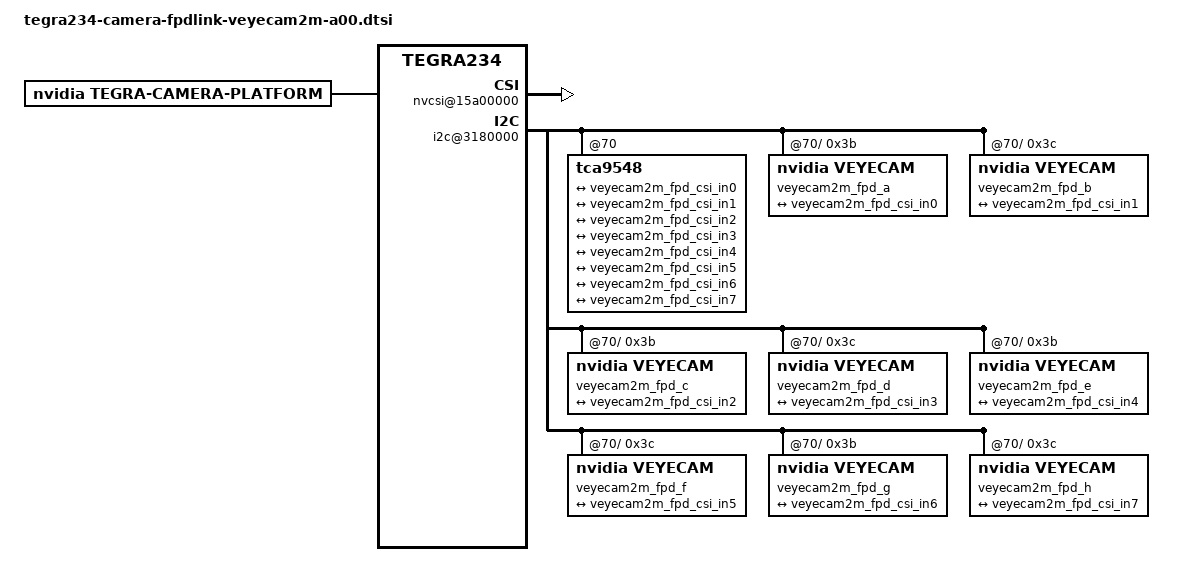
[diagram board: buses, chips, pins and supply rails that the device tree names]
/*
 * Copyright (c) 2015-2024, www.veye.cc.  All rights reserved.
 *
 * This program is free software; you can redistribute it and/or modify it
 * under the terms and conditions of the GNU General Public License,
 * version 2, as published by the Free Software Foundation.
 *
 * This program is distributed in the hope it will be useful, but WITHOUT
 * ANY WARRANTY; without even the implied warranty of MERCHANTABILITY or
 * FITNESS FOR A PARTICULAR PURPOSE.  See the GNU General Public License for
 * more details.
 *
 * You should have received a copy of the GNU General Public License
 * along with this program.  If not, see <http://www.gnu.org/licenses/>.
 */

/ {
    fragment-fpdcamera@0 {
        target-path = "/";
        __overlay__ {
            tegra-capture-vi {
                num-channels = <8>;
                ports {
                    #address-cells = <1>;
                    #size-cells = <0>;
                    port@0 {
                        reg = <0>;
                        veyecam2m_fpd_vi_in0: endpoint {
                            vc-id = <0>;
                            port-index = <0>;
                            bus-width = <4>;
                            remote-endpoint = <&veyecam2m_fpd_csi_out0>;
                        };
                    };
                    port@1 {
                        reg = <1>;
                        veyecam2m_fpd_vi_in1: endpoint {
                            vc-id = <1>;
                            port-index = <0>;
                            bus-width = <4>;
                            remote-endpoint = <&veyecam2m_fpd_csi_out1>;
                        };
                    };
                    port@2 {
                        reg = <2>;
                        veyecam2m_fpd_vi_in2: endpoint {
                            vc-id = <0>;
                            port-index = <2>;
                            bus-width = <4>;
                            remote-endpoint = <&veyecam2m_fpd_csi_out2>;
                        };
                    };
                    port@3 {
                        reg = <3>;
                        veyecam2m_fpd_vi_in3: endpoint {
                            vc-id = <1>;
                            port-index = <2>;
                            bus-width = <4>;
                            remote-endpoint = <&veyecam2m_fpd_csi_out3>;
                        };
                    };
                    port@4 {
                        reg = <4>;
                        veyecam2m_fpd_vi_in4: endpoint {
                            vc-id = <0>;
                            port-index = <4>;
                            bus-width = <4>;
                            remote-endpoint = <&veyecam2m_fpd_csi_out4>;
                        };
                    };
                    port@5 {
                        reg = <5>;
                        veyecam2m_fpd_vi_in5: endpoint {
                            vc-id = <1>;
                            port-index = <4>;
                            bus-width = <4>;
                            
                            remote-endpoint = <&veyecam2m_fpd_csi_out5>;
                            };
                        };
                        port@6 {
                            reg = <6>;
                            veyecam2m_fpd_vi_in6: endpoint {
                                vc-id = <0>;
                                port-index = <5>;
                                bus-width = <4>;
                                remote-endpoint = <&veyecam2m_fpd_csi_out6>;
                                
                            };
                        };
                        port@7 {
                            reg = <7>;
                            veyecam2m_fpd_vi_in7: endpoint {
                                vc-id = <1>;
                                port-index = <5>;
                                bus-width = <4>;
                                remote-endpoint = <&veyecam2m_fpd_csi_out7>;
                                
                            };
                        };
                    };
                };
            
        bus@0 {
            host1x@13e00000 {
                nvcsi@15a00000 {
                    num-channels = <8>;
                    #address-cells = <1>;
                    #size-cells = <0>;
                    status = "okay";
                    channel@0 {
                        reg = <0>;
                        ports {
                            #address-cells = <1>;
                            #size-cells = <0>;
                            port@0 {
                                reg = <0>;
                                veyecam2m_fpd_csi_in0: endpoint@0 {
                                    port-index = <0>;
                                    bus-width = <4>;
                                    remote-endpoint = <&veyecam2m_fpd_out0>;
                                };
                            };
                            port@1 {
                                reg = <1>;
                                veyecam2m_fpd_csi_out0: endpoint@1 {
                                    remote-endpoint = <&veyecam2m_fpd_vi_in0>;
                                };
                            };
                        };
                    };
                    channel@1 {
                        reg = <1>;
                        ports {
                            #address-cells = <1>;
                            #size-cells = <0>;
                            port@0 {
                                reg = <0>;
                                veyecam2m_fpd_csi_in1: endpoint@2 {
                                    port-index = <0>;
                                    bus-width = <4>;
                                    remote-endpoint = <&veyecam2m_fpd_out1>;
                                };
                            };
                            port@1 {
                                reg = <1>;
                                veyecam2m_fpd_csi_out1: endpoint@3 {
                                    remote-endpoint = <&veyecam2m_fpd_vi_in1>;
                                };
                            };
                        };
                    };
                    channel@2 {
                        reg = <2>;
                        ports {
                            #address-cells = <1>;
                            #size-cells = <0>;
                            port@0 {
                                reg = <0>;
                                veyecam2m_fpd_csi_in2: endpoint@4 {
                                    port-index = <2>;
                                    bus-width = <4>;
                                    remote-endpoint = <&veyecam2m_fpd_out2>;
                                };
                            };
                            port@1 {
                                reg = <1>;
                                veyecam2m_fpd_csi_out2: endpoint@5 {
                                    remote-endpoint = <&veyecam2m_fpd_vi_in2>;
                                };
                            };
                        };
                    };
                    channel@3 {
                        reg = <3>;
                        ports {
                            #address-cells = <1>;
                            #size-cells = <0>;
                            port@0 {
                                reg = <0>;
                                veyecam2m_fpd_csi_in3: endpoint@6 {
                                    port-index = <2>;
                                    bus-width = <4>;
                                    remote-endpoint = <&veyecam2m_fpd_out3>;
                                };
                            };
                            port@1 {
                                reg = <1>;
                                veyecam2m_fpd_csi_out3: endpoint@7 {
                                    remote-endpoint = <&veyecam2m_fpd_vi_in3>;
                                };
                            };
                        };
                    };
                    channel@4 {
                        reg = <4>;
                        ports {
                            #address-cells = <1>;
                            #size-cells = <0>;
                            port@0 {
                                reg = <0>;
                                veyecam2m_fpd_csi_in4: endpoint@8 {
                                    port-index = <4>;
                                    bus-width = <4>;
                                    remote-endpoint = <&veyecam2m_fpd_out4>;
                                };
                            };
                            port@1 {
                                reg = <1>;
                                veyecam2m_fpd_csi_out4: endpoint@9 {
                                    remote-endpoint = <&veyecam2m_fpd_vi_in4>;
                                };
                            };
                        };
                    };
                    channel@5 {
                        reg = <5>;
                        ports {
                            #address-cells = <1>;
                            #size-cells = <0>;
                            port@0 {
                                reg = <0>;
                                veyecam2m_fpd_csi_in5: endpoint@10 {
                                    port-index = <4>;
                                    bus-width = <4>;
                                    remote-endpoint = <&veyecam2m_fpd_out5>;
                                };
                            };
                            port@1 {
                                reg = <1>;
                                veyecam2m_fpd_csi_out5: endpoint@11 {
                                    remote-endpoint = <&veyecam2m_fpd_vi_in5>;
                                };
                            };
                        };
                    };
                    channel@6 {
                        reg = <6>;
                        ports {
                            #address-cells = <1>;
                            #size-cells = <0>;
                            port@0 {
                                reg = <0>;
                                veyecam2m_fpd_csi_in6: endpoint@12 {
                                    port-index = <6>;
                                    bus-width = <4>;
                                    remote-endpoint = <&veyecam2m_fpd_out6>;
                                };
                            };
                            port@1 {
                                reg = <1>;
                                veyecam2m_fpd_csi_out6: endpoint@13 {
                                    remote-endpoint = <&veyecam2m_fpd_vi_in6>;
                                };
                            };
                        };
                    };
                    channel@7 {
                        reg = <7>;
                        ports {
                            #address-cells = <1>;
                            #size-cells = <0>;
                            port@0 {
                                reg = <0>;
                                veyecam2m_fpd_csi_in7: endpoint@14 {
                                    port-index = <6>;
                                    bus-width = <4>;
                                    remote-endpoint = <&veyecam2m_fpd_out7>;
                                };
                            };
                            port@1 {
                                reg = <1>;
                                veyecam2m_fpd_csi_out7: endpoint@15 {
                                    remote-endpoint = <&veyecam2m_fpd_vi_in7>;
                                };
                            };
                        };
                    };
                };
            };

            i2c@3180000 {
                tca9548@70 {
                    i2c@0 {
                        veyecam2m_fpd_a@3b {
                            compatible = "nvidia,veyecam";
                            reg = <0x3b>;
                            devnode = "video0";

                            /* Physical dimensions of sensor */
                            physical_w = "5.6";
                            physical_h = "3.1";

                            /* Define any required hw resources needed by driver */
                            /* ie. clocks, io pins, power sources */
                            avdd-reg = "vana";
                            iovdd-reg = "vif";

                            /* Enable EEPROM support */
                            has-eeprom = "0";

                            mode0 {
                            mclk_khz = "24000";
                            num_lanes = "4";
                            tegra_sinterface = "serial_a";
                            vc_id = "0";
                            phy_mode = "DPHY";
                            discontinuous_clk = "yes";
                            dpcm_enable = "false";
                            cil_settletime = "0";

                            active_w = "1920";
                            active_h = "1080";
                            mode_type = "yuv";
                            pixel_phase = "uyvy";
                            csi_pixel_bit_depth = "16";
                            readout_orientation = "0";
                            line_length = "2200";
                            inherent_gain = "1";
                            mclk_multiplier = "2";
                            pix_clk_hz = "74250000";
                                        serdes_pix_clk_hz = "187499999";
                                gain_factor = "10";
                                min_gain_val = "10";/* 1DB*/
                                max_gain_val = "160";/* 16DB*/
                                step_gain_val = "1";
                                default_gain = "10";
                                min_hdr_ratio = "1";
                                max_hdr_ratio = "1";
                                framerate_factor = "1000000";
                                min_framerate = "1816577";/*1.816577 */
                                max_framerate = "30000000";/*30*/
                                step_framerate = "1";
                                default_framerate = "30000000";
                                exposure_factor = "1000000";
                                min_exp_time = "34";/* us */
                                max_exp_time = "550385";/* us */
                                step_exp_time = "1";
                                default_exp_time = "33334";/* us */
                                embedded_metadata_height = "0";
                        };
                        ports {
                                #address-cells = <1>;
                                #size-cells = <0>;

                                port@0 {
                                    reg = <0>;
                                    veyecam2m_fpd_out0: endpoint {
                                        vc-id = <0>;
                                        port-index = <0>;
                                        bus-width = <4>;
                                        remote-endpoint = <&veyecam2m_fpd_csi_in0>;
                                    };
                                };
                            };
                        };
                    

                    
                        veyecam2m_fpd_b@3c {
                            compatible = "nvidia,veyecam";
                            reg = <0x3c>;
                            devnode = "video1";

                            /* Physical dimensions of sensor */
                            physical_w = "5.6";
                            physical_h = "3.1";

                            /* Define any required hw resources needed by driver */
                            /* ie. clocks, io pins, power sources */
                            avdd-reg = "vana";
                            iovdd-reg = "vif";

                            /* Enable EEPROM support */
                            has-eeprom = "0";

                            mode0 { 
                            mclk_khz = "24000";
                            num_lanes = "4";
                            tegra_sinterface = "serial_a";
                                        vc_id = "1";
                            phy_mode = "DPHY";
                            discontinuous_clk = "yes";
                            dpcm_enable = "false";
                            cil_settletime = "0";

                            active_w = "1920";
                            active_h = "1080";
                            mode_type = "yuv";
                                        pixel_phase = "uyvy";
                                        csi_pixel_bit_depth = "16";
                            readout_orientation = "0";
                            line_length = "2200";
                            inherent_gain = "1";
                            mclk_multiplier = "2";
                            pix_clk_hz = "74250000";
                                        serdes_pix_clk_hz = "187499999";
                                gain_factor = "10";
                                min_gain_val = "10";/* 1DB*/
                                max_gain_val = "160";/* 16DB*/
                                step_gain_val = "1";
                                default_gain = "10";
                                min_hdr_ratio = "1";
                                max_hdr_ratio = "1";
                                framerate_factor = "1000000";
                                min_framerate = "1816577";/*1.816577 */
                                max_framerate = "30000000";/*30*/
                                step_framerate = "1";
                                default_framerate = "30000000";
                                exposure_factor = "1000000";
                                min_exp_time = "34";/* us */
                                max_exp_time = "550385";/* us */
                                step_exp_time = "1";
                                default_exp_time = "33334";/* us */
                                embedded_metadata_height = "0";
                        };

                            ports {
                                #address-cells = <1>;
                                #size-cells = <0>;

                                port@0 {
                                    reg = <0>;
                                    veyecam2m_fpd_out1: endpoint {
                                        vc-id = <1>;
                                        port-index = <0>;
                                        bus-width = <4>;
                                        remote-endpoint = <&veyecam2m_fpd_csi_in1>;
                                    };
                                };
                            };
                        };
                    };

                    i2c@1 {
                        veyecam2m_fpd_c@3b {
                            compatible = "nvidia,veyecam";
                            reg = <0x3b>;
                            devnode = "video2";

                            /* Physical dimensions of sensor */
                            physical_w = "5.6";
                            physical_h = "3.1";

                            /* Define any required hw resources needed by driver */
                            /* ie. clocks, io pins, power sources */
                            avdd-reg = "vana";
                            iovdd-reg = "vif";

                            /* Enable EEPROM support */
                            has-eeprom = "0";

                            mode0 { 
                            mclk_khz = "24000";
                            num_lanes = "4";
                            tegra_sinterface = "serial_c";
                                        vc_id = "0";
                            phy_mode = "DPHY";
                            discontinuous_clk = "yes";
                            dpcm_enable = "false";
                            cil_settletime = "0";

                            active_w = "1920";
                            active_h = "1080";
                            mode_type = "yuv";
                                        pixel_phase = "uyvy";
                                        csi_pixel_bit_depth = "16";
                            readout_orientation = "0";
                            line_length = "2200";
                            inherent_gain = "1";
                            mclk_multiplier = "2";
                            pix_clk_hz = "74250000";
                                        serdes_pix_clk_hz = "187499999";
                                gain_factor = "10";
                                min_gain_val = "10";/* 1DB*/
                                max_gain_val = "160";/* 16DB*/
                                step_gain_val = "1";
                                default_gain = "10";
                                min_hdr_ratio = "1";
                                max_hdr_ratio = "1";
                                framerate_factor = "1000000";
                                min_framerate = "1816577";/*1.816577 */
                                max_framerate = "30000000";/*30*/
                                step_framerate = "1";
                                default_framerate = "30000000";
                                exposure_factor = "1000000";
                                min_exp_time = "34";/* us */
                                max_exp_time = "550385";/* us */
                                step_exp_time = "1";
                                default_exp_time = "33334";/* us */
                                embedded_metadata_height = "0";
                        };


                            ports {
                                #address-cells = <1>;
                                #size-cells = <0>;

                                port@0 {
                                    reg = <0>;
                                    veyecam2m_fpd_out2: endpoint {
                                        vc-id = <0>;
                                        port-index = <2>;
                                        bus-width = <4>;
                                        remote-endpoint = <&veyecam2m_fpd_csi_in2>;
                                    };
                                };
                            };
                        };
                    
                        veyecam2m_fpd_d@3c {
                            compatible = "nvidia,veyecam";
                            reg = <0x3c>;
                            devnode = "video3";

                            /* Physical dimensions of sensor */
                            physical_w = "5.6";
                            physical_h = "3.1";

                            /* Define any required hw resources needed by driver */
                            /* ie. clocks, io pins, power sources */
                            avdd-reg = "vana";
                            iovdd-reg = "vif";

                            /* Enable EEPROM support */
                            has-eeprom = "0";

                            mode0 { 
                            mclk_khz = "24000";
                            num_lanes = "4";
                            tegra_sinterface = "serial_c";
                                        vc_id = "1";
                            phy_mode = "DPHY";
                            discontinuous_clk = "yes";
                            dpcm_enable = "false";
                            cil_settletime = "0";

                            active_w = "1920";
                            active_h = "1080";
                            mode_type = "yuv";
                                        pixel_phase = "uyvy";
                                        csi_pixel_bit_depth = "16";
                            readout_orientation = "0";
                            line_length = "2200";
                            inherent_gain = "1";
                            mclk_multiplier = "2";
                            pix_clk_hz = "74250000";
                                serdes_pix_clk_hz = "187499999";
                                gain_factor = "10";
                                min_gain_val = "10";/* 1DB*/
                                max_gain_val = "160";/* 16DB*/
                                step_gain_val = "1";
                                default_gain = "10";
                                min_hdr_ratio = "1";
                                max_hdr_ratio = "1";
                                framerate_factor = "1000000";
                                min_framerate = "1816577";/*1.816577 */
                                max_framerate = "30000000";/*30*/
                                step_framerate = "1";
                                default_framerate = "30000000";
                                exposure_factor = "1000000";
                                min_exp_time = "34";/* us */
                                max_exp_time = "550385";/* us */
                                step_exp_time = "1";
                                default_exp_time = "33334";/* us */
                                embedded_metadata_height = "0";
                        };

                            ports {
                                #address-cells = <1>;
                                #size-cells = <0>;

                                port@0 {
                                    reg = <0>;
                                    veyecam2m_fpd_out3: endpoint {
                                        vc-id = <1>;
                                        port-index = <2>;
                                        bus-width = <4>;
                                        remote-endpoint = <&veyecam2m_fpd_csi_in3>;
                                    };
                                };
                            };
                        };
                    };

                    i2c@2 {
                        veyecam2m_fpd_e@3b {
                            compatible = "nvidia,veyecam";
                            reg = <0x3b>;
                            devnode = "video4";

                            /* Physical dimensions of sensor */
                            physical_w = "5.6";
                            physical_h = "3.1";

                            /* Define any required hw resources needed by driver */
                            /* ie. clocks, io pins, power sources */
                            avdd-reg = "vana";
                            iovdd-reg = "vif";

                            /* Enable EEPROM support */
                            has-eeprom = "0";

                            mode0 { 
                            mclk_khz = "24000";
                            num_lanes = "4";
                            tegra_sinterface = "serial_e";
                                        vc_id = "0";
                            phy_mode = "DPHY";
                            discontinuous_clk = "yes";
                            dpcm_enable = "false";
                            cil_settletime = "0";

                            active_w = "1920";
                            active_h = "1080";
                            mode_type = "yuv";
                                        pixel_phase = "uyvy";
                                        csi_pixel_bit_depth = "16";
                            readout_orientation = "0";
                            line_length = "2200";
                            inherent_gain = "1";
                            mclk_multiplier = "2";
                            pix_clk_hz = "74250000";
                                        serdes_pix_clk_hz = "187499999";
                                gain_factor = "10";
                                min_gain_val = "10";/* 1DB*/
                                max_gain_val = "160";/* 16DB*/
                                step_gain_val = "1";
                                default_gain = "10";
                                min_hdr_ratio = "1";
                                max_hdr_ratio = "1";
                                framerate_factor = "1000000";
                                min_framerate = "1816577";/*1.816577 */
                                max_framerate = "30000000";/*30*/
                                step_framerate = "1";
                                default_framerate = "30000000";
                                exposure_factor = "1000000";
                                min_exp_time = "34";/* us */
                                max_exp_time = "550385";/* us */
                                step_exp_time = "1";
                                default_exp_time = "33334";/* us */
                                embedded_metadata_height = "0";
                        };


                            ports {
                                #address-cells = <1>;
                                #size-cells = <0>;

                                port@0 {
                                    reg = <0>;
                                    veyecam2m_fpd_out4: endpoint {
                                        vc-id = <0>;
                                        port-index = <4>;
                                        bus-width = <4>;
                                        remote-endpoint = <&veyecam2m_fpd_csi_in4>;
                                    };
                                };
                            };
                        };
                    
                        veyecam2m_fpd_f@3c  {
                            compatible = "nvidia,veyecam";
                            reg = <0x3c>;
                            devnode = "video5";

                            /* Physical dimensions of sensor */
                            physical_w = "5.6";
                            physical_h = "3.1";

                            /* Define any required hw resources needed by driver */
                            /* ie. clocks, io pins, power sources */
                            avdd-reg = "vana";
                            iovdd-reg = "vif";

                            /* Enable EEPROM support */
                            has-eeprom = "0";

                            mode0 { 
                            mclk_khz = "24000";
                            num_lanes = "4";
                            vc_id = "1";
                            tegra_sinterface = "serial_e";
                                        
                            phy_mode = "DPHY";
                            discontinuous_clk = "yes";
                            dpcm_enable = "false";
                            cil_settletime = "0";

                            active_w = "1920";
                            active_h = "1080";
                            mode_type = "yuv";
                                        pixel_phase = "uyvy";
                                        csi_pixel_bit_depth = "16";
                            readout_orientation = "0";
                            line_length = "2200";
                            inherent_gain = "1";
                            mclk_multiplier = "2";
                            pix_clk_hz = "74250000";
                                        serdes_pix_clk_hz = "187499999";
                                gain_factor = "10";
                                min_gain_val = "10";/* 1DB*/
                                max_gain_val = "160";/* 16DB*/
                                step_gain_val = "1";
                                default_gain = "10";
                                min_hdr_ratio = "1";
                                max_hdr_ratio = "1";
                                framerate_factor = "1000000";
                                min_framerate = "1816577";/*1.816577 */
                                max_framerate = "30000000";/*30*/
                                step_framerate = "1";
                                default_framerate = "30000000";
                                exposure_factor = "1000000";
                                min_exp_time = "34";/* us */
                                max_exp_time = "550385";/* us */
                                step_exp_time = "1";
                                default_exp_time = "33334";/* us */
                                embedded_metadata_height = "0";
                        };

                            ports {
                                #address-cells = <1>;
                                #size-cells = <0>;

                                port@0 {
                                    reg = <0>;
                                    veyecam2m_fpd_out5: endpoint {
                                        vc-id = <1>;
                                        port-index = <4>;
                                        bus-width = <4>;
                                        remote-endpoint = <&veyecam2m_fpd_csi_in5>;
                                    };
                                };
                            };
                        };
                    };
                    i2c@3 {
                        veyecam2m_fpd_g@3b {
                            compatible = "nvidia,veyecam";
                            reg = <0x3b>;
                            devnode = "video6";

                            /* Physical dimensions of sensor */
                            physical_w = "5.6";
                            physical_h = "3.1";

                            /* Define any required hw resources needed by driver */
                            /* ie. clocks, io pins, power sources */
                            avdd-reg = "vana";
                            iovdd-reg = "vif";

                            /* Enable EEPROM support */
                            has-eeprom = "0";

                            mode0 { 
                            mclk_khz = "24000";
                            num_lanes = "4";
                            vc_id = "0";
                            tegra_sinterface = "serial_g";
                                        
                            phy_mode = "DPHY";
                            discontinuous_clk = "yes";
                            dpcm_enable = "false";
                            cil_settletime = "0";

                            active_w = "1920";
                            active_h = "1080";
                            mode_type = "yuv";
                                        pixel_phase = "uyvy";
                                        csi_pixel_bit_depth = "16";
                            readout_orientation = "0";
                            line_length = "2200";
                            inherent_gain = "1";
                            mclk_multiplier = "2";
                            pix_clk_hz = "74250000";
                                        serdes_pix_clk_hz = "187499999";
                                gain_factor = "10";
                                min_gain_val = "10";/* 1DB*/
                                max_gain_val = "160";/* 16DB*/
                                step_gain_val = "1";
                                default_gain = "10";
                                min_hdr_ratio = "1";
                                max_hdr_ratio = "1";
                                framerate_factor = "1000000";
                                min_framerate = "1816577";/*1.816577 */
                                max_framerate = "30000000";/*30*/
                                step_framerate = "1";
                                default_framerate = "30000000";
                                exposure_factor = "1000000";
                                min_exp_time = "34";/* us */
                                max_exp_time = "550385";/* us */
                                step_exp_time = "1";
                                default_exp_time = "33334";/* us */
                                embedded_metadata_height = "0";
                        };


                            ports {
                                #address-cells = <1>;
                                #size-cells = <0>;

                                port@0 {
                                    reg = <0>;
                                    veyecam2m_fpd_out6: endpoint {
                                        vc-id = <0>;
                                        port-index = <6>;
                                        bus-width = <4>;
                                        remote-endpoint = <&veyecam2m_fpd_csi_in6>;
                                    };
                                };
                            };
                        };
                    
                        veyecam2m_fpd_h@3c  {
                            compatible = "nvidia,veyecam";
                            reg = <0x3c>;
                            devnode = "video7";

                            /* Physical dimensions of sensor */
                            physical_w = "5.6";
                            physical_h = "3.1";

                            /* Define any required hw resources needed by driver */
                            /* ie. clocks, io pins, power sources */
                            avdd-reg = "vana";
                            iovdd-reg = "vif";

                            /* Enable EEPROM support */
                            has-eeprom = "0";

                            mode0 { 
                            mclk_khz = "24000";
                            num_lanes = "4";
                            vc_id = "1";
                            tegra_sinterface = "serial_g";
                                        
                            phy_mode = "DPHY";
                            discontinuous_clk = "yes";
                            dpcm_enable = "false";
                            cil_settletime = "0";

                            active_w = "1920";
                            active_h = "1080";
                            mode_type = "yuv";
                                        pixel_phase = "uyvy";
                                        csi_pixel_bit_depth = "16";
                            readout_orientation = "0";
                            line_length = "2200";
                            inherent_gain = "1";
                            mclk_multiplier = "2";
                            pix_clk_hz = "74250000";
                                        serdes_pix_clk_hz = "187499999";
                                gain_factor = "10";
                                min_gain_val = "10";/* 1DB*/
                                max_gain_val = "160";/* 16DB*/
                                step_gain_val = "1";
                                default_gain = "10";
                                min_hdr_ratio = "1";
                                max_hdr_ratio = "1";
                                framerate_factor = "1000000";
                                min_framerate = "1816577";/*1.816577 */
                                max_framerate = "30000000";/*30*/
                                step_framerate = "1";
                                default_framerate = "30000000";
                                exposure_factor = "1000000";
                                min_exp_time = "34";/* us */
                                max_exp_time = "550385";/* us */
                                step_exp_time = "1";
                                default_exp_time = "33334";/* us */
                                embedded_metadata_height = "0";
                        };

                            ports {
                                #address-cells = <1>;
                                #size-cells = <0>;

                                port@0 {
                                    reg = <0>;
                                    veyecam2m_fpd_out7: endpoint {
                                        vc-id = <1>;
                                        port-index = <6>;
                                        bus-width = <4>;
                                        remote-endpoint = <&veyecam2m_fpd_csi_in7>;
                                    };
                                };
                            };
                        };
                    };
                };
            };
        };
        
            tegra-camera-platform {
                compatible = "nvidia, tegra-camera-platform";
                /**
                * Physical settings to calculate max ISO BW
                *
                * num_csi_lanes = <>;
                * Total number of CSI lanes when all cameras are active
                *
                * max_lane_speed = <>;
                * Max lane speed in Kbit/s
                *
                * min_bits_per_pixel = <>;
                * Min bits per pixel
                *
                * vi_peak_byte_per_pixel = <>;
                * Max byte per pixel for the VI ISO case
                *
                * vi_bw_margin_pct = <>;
                * Vi bandwidth margin in percentage
                *
                * max_pixel_rate = <>;
                * Max pixel rate in Kpixel/s for the ISP ISO case
                * Set this to the highest pix_clk_hz out of all available modes.
                *
                * isp_peak_byte_per_pixel = <>;
                * Max byte per pixel for the ISP ISO case
                *
                * isp_bw_margin_pct = <>;
                * Isp bandwidth margin in percentage
                */
                num_csi_lanes = <16>;
                max_lane_speed = <1600000>;
                min_bits_per_pixel = <16>;
                vi_peak_byte_per_pixel = <2>;
                vi_bw_margin_pct = <25>;
                isp_peak_byte_per_pixel = <5>;
                isp_bw_margin_pct = <25>;

                /**
                * The general guideline for naming badge_info contains 3 parts, and is as follows,
                * The first part is the camera_board_id for the module; if the module is in a FFD
                * platform, then use the platform name for this part.
                * The second part contains the position of the module, ex. “rear” or “front”.
                * The third part contains the last 6 characters of a part number which is found
                * in the module's specsheet from the vender.
                */
                modules {
                    module0 {
                        badge = "veyecam2m_fpd_bottomleft_P5V27C";
                        position = "bottomleft";
                        orientation = "1";
                        drivernode0 {
                            pcl_id = "v4l2_sensor";
                            devname = "veyecam2m_fpd 30-003b";
                            sysfs-device-tree = "/sys/firmware/devicetree/base/bus@0/i2c@3180000/tca9548@70/i2c@0/veyecam2m_fpd_a@3b";
                        };

                    };
                    module1 {
                        badge = "veyecam2m_fpd_centerleft_P5V27C";
                        position = "centerleft";
                        orientation = "1";
                        drivernode0 {
                            pcl_id = "v4l2_sensor";
                            devname = "veyecam2m_fpd 30-003c";
                            sysfs-device-tree = "/sys/firmware/devicetree/base/bus@0/i2c@3180000/tca9548@70/i2c@0/veyecam2m_fpd_b@3c";
                        };

                    };
                    module2 {
                        badge = "veyecam2m_fpd_centerright_P5V27C";
                        position = "centerright";
                        orientation = "1";
                        drivernode0 {
                            pcl_id = "v4l2_sensor";
                            devname = "veyecam2m_fpd 31-003b";
                            sysfs-device-tree = "/sys/firmware/devicetree/base/bus@0/i2c@3180000/tca9548@70/i2c@1/veyecam2m_fpd_c@3b";
                        };

                    };
                    module3 {
                        badge = "veyecam2m_fpd_topleft_P5V27C";
                        position = "topleft";
                        orientation = "1";
                        drivernode0 {
                            pcl_id = "v4l2_sensor";
                            devname = "veyecam2m_fpd 31-003c";
                            sysfs-device-tree = "/sys/firmware/devicetree/base/bus@0/i2c@3180000/tca9548@70/i2c@1/veyecam2m_fpd_d@3c";
                        };

                    };
                    module4 {
                        badge = "veyecam2m_fpd_bottomright_P5V27C";
                        position = "bottomright";
                        orientation = "1";
                        drivernode0 {
                            pcl_id = "v4l2_sensor";
                            devname = "veyecam2m_fpd 32-003b";
                            sysfs-device-tree = "/sys/firmware/devicetree/base/bus@0/i2c@3180000/tca9548@70/i2c@2/veyecam2m_fpd_e@3b";
                        };

                    };
                    module5 {
                        badge = "veyecam2m_fpd_topright_P5V27C";
                        position = "topright";
                        orientation = "1";
                        drivernode0 {
                            pcl_id = "v4l2_sensor";
                            devname = "veyecam2m_fpd 32-003c";
                            sysfs-device-tree = "/sys/firmware/devicetree/base/bus@0/i2c@3180000/tca9548@70/i2c@2/veyecam2m_fpd_f@3c";
                        };

                    };
                         module6 {
                        badge = "veyecam2m_fpd_topright2_P5V27C";
                        position = "bottomright2";
                        orientation = "1";
                        drivernode0 {
            
                            pcl_id = "v4l2_sensor";
                            devname = "veyecam2m_fpd 33-003b";
                            sysfs-device-tree = "/sys/firmware/devicetree/base/bus@0/i2c@3180000/tca9548@70/i2c@3/veyecam2m_g@3b";
                        };

                    };
                     module7 {
                        badge = "veyecam2m_fpd_topright2_P5V27C";
                        position = "topright2";
                        orientation = "1";
                        drivernode0 {
            
                            pcl_id = "v4l2_sensor";
                            devname = "veyecam2m_fpd 33-003c";
                            sysfs-device-tree = "/sys/firmware/devicetree/base/bus@0/i2c@3180000/tca9548@70/i2c@3/veyecam2m_h@3c";
                        };
                    };
                };
			};
		};
    };
};
